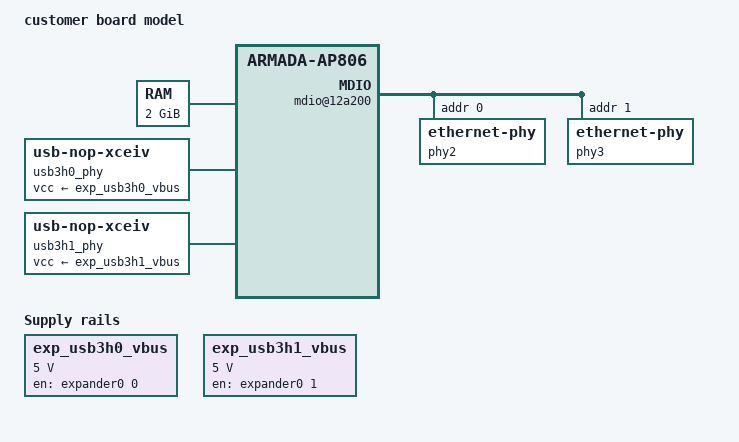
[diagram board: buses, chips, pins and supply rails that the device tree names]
/*
 * Copyright (C) 2016 Marvell Technology Group Ltd.
 *
 * This file is dual-licensed: you can use it either under the terms
 * of the GPLv2 or the X11 license, at your option. Note that this dual
 * licensing only applies to this file, and not this project as a
 * whole.
 *
 *  a) This library is free software; you can redistribute it and/or
 *     modify it under the terms of the GNU General Public License as
 *     published by the Free Software Foundation; either version 2 of the
 *     License, or (at your option) any later version.
 *
 *     This library is distributed in the hope that it will be useful,
 *     but WITHOUT ANY WARRANTY; without even the implied warranty of
 *     MERCHANTABILITY or FITNESS FOR A PARTICULAR PURPOSE.  See the
 *     GNU General Public License for more details.
 *
 * Or, alternatively,
 *
 *  b) Permission is hereby granted, free of charge, to any person
 *     obtaining a copy of this software and associated documentation
 *     files (the "Software"), to deal in the Software without
 *     restriction, including without limitation the rights to use,
 *     copy, modify, merge, publish, distribute, sublicense, and/or
 *     sell copies of the Software, and to permit persons to whom the
 *     Software is furnished to do so, subject to the following
 *     conditions:
 *
 *     The above copyright notice and this permission notice shall be
 *     included in all copies or substantial portions of the Software.
 *
 *     THE SOFTWARE IS PROVIDED "AS IS", WITHOUT WARRANTY OF ANY KIND,
 *     EXPRESS OR IMPLIED, INCLUDING BUT NOT LIMITED TO THE WARRANTIES
 *     OF MERCHANTABILITY, FITNESS FOR A PARTICULAR PURPOSE AND
 *     NONINFRINGEMENT. IN NO EVENT SHALL THE AUTHORS OR COPYRIGHT
 *     HOLDERS BE LIABLE FOR ANY CLAIM, DAMAGES OR OTHER LIABILITY,
 *     WHETHER IN AN ACTION OF CONTRACT, TORT OR OTHERWISE, ARISING
 *     FROM, OUT OF OR IN CONNECTION WITH THE SOFTWARE OR THE USE OR
 *     OTHER DEALINGS IN THE SOFTWARE.
 */

/*
 * Example device tree for Armada 7040
 * Customer may use this file as a reference.
 * Each field that needs to be update (phys, mpps, addresses, frequencies)
 * is marked with "UPDATE" comment.
 *
 * NOTE: all interfaces are disabled!
 *
 * Refer to ./Documentation/mvebu/porting_guide.txt for for information
 */

/* UPDATE
 * Include one of the following dtsi files:
 *	armada-7040.dtsi - used for quad core
 *	armada-7020.dtsi - used for dual core
 */
#include "armada-7040.dtsi"

/ {
	/* UPDATE */
	model = "customer board model";
	/* UPDATE
	 * marvell,armada-ap806-quad - used for quad core
	 * marvell,armada-ap806-dual - used for dual core
	 * NOTE: The compatile MUST match the included *.dtsi file
	 */
	compatible = "customer-board-compatible", "marvell,armada7040",
		     "marvell,armada-ap806-quad", "marvell,armada-ap806";
	#address-cells = <2>;
	#size-cells = <2>;

	aliases {
		gpio1 = &cpm_gpio0;
		gpio2 = &cpm_gpio1;
	};

	/* UPDATE */
	memory@00000000 {
		device_type = "memory";
		reg = <0x0 0x0 0x0 0x80000000>;
	};

	ap806 {
		config-space {
			sdhci@6e0000 {
				status = "disabled";
			};
			serial@512000 {
				status = "disabled";
			};
			i2c@511000 {
				status = "disabled";
				/* UPDATE */
				clock-frequency = <100000>;
			};
			sd_mmc_reg0: regulator@0 {
			/* UPDATE */
				gpios = <&gpio0 11 GPIO_ACTIVE_HIGH>;
				gpios-states = <0>;
				states = <1800000 0x1 3300000 0x0>;
				enable-active-high;
				status = "disabled";
			};
			sdhci@6e0000 {
				/* UPDATE */
				bus-width = <4>;
				no-1-8-v;
				non-removable;
			};
		};
	};

	cpn-110-master {
		config-space {
			pinctrl@440000 {
				u3d_vbus_pins: pca0_pins {
					marvell,pins = "mpp62";
					marvell,function = "gpio";
				};
			};
			serial@702000 {
				status = "disabled";
			};
			serial@702100 {
				status = "disabled";
			};
			serial@702200 {
				status = "disabled";
			};
			serial@702300 {
				status = "disabled";
			};
			sata: sata@540000 {
				status = "disabled";

				sata-port@0 {
					/* UPDATE */
					phys = <&comphy0 1 COMPHY_SATA0>;
					phy-names = "comphy";
					status = "disabled";
				};
				sata-port@1 {
					/* UPDATE */
					phys = <&comphy0 3 COMPHY_SATA1>;
					phy-names = "comphy";
					status = "disabled";
				};
			};
			usb3h0: usb3@500000 {
				status = "disabled";
			};
			usb3h1: usb3@510000 {
				status = "disabled";
			};
			u3d@520000 {
				/* UPDATE */
				pinctrl-0 = <&u3d_vbus_pins>;
				pinctrl-names = "default";
				vbus-gpio = <&cpm_gpio1 30 GPIO_ACTIVE_HIGH>;
				status = "disabled";
			};
			udc@524100 {
				status = "disabled";
			};
			sdhci@780000 {
				status = "disabled";
			};
			nand@720000 {
				/* UPDATE */
				nand-ecc-strength = <4>;
				nand-ecc-step-size = <512>;
				status = "disabled";
				partition@0 {
					label = "U-Boot";
					reg = <0 0x200000>;
				};
				partition@200000 {
					label = "Linux";
					reg = <0x200000 0xd00000>;
				};
				partition@1000000 {
					label = "Filesystem";
					reg = <0x1000000 0x3f000000>;
				};
			};
			spi@700680 {
				status = "disabled";
				/* UPDATE */
				spi-flash@0 {
					#address-cells = <0x1>;
					#size-cells = <0x1>;
					compatible = "jedec,spi-nor";
					reg = <0x0>;
					spi-max-frequency = <20000000>;
					partition@0 {
						label = "boot";
						reg = <0x0 0x200000>;
					};
					partition@200000 {
						label = "Filesystem";
						reg = <0x200000 0xd00000>;
					};
					partition@d00000 {
						label = "boot_2nd";
						reg = <0xf00000 0x100000>;
					};
				};
			};
			i2c1: i2c@701000 {
				status = "disabled";
				/* UPDATE */
				clock-frequency = <100000>;
				pinctrl-names = "default";
				pinctrl-0 = <&i2c0_pins>;
				eeprom@57 {
					/* UPDATE */
					compatible = "at24,24c64";
					reg = <0x57>;
					pagesize = <32>;
				};
				eeprom@50 {
					/* UPDATE */
					compatible = "at24,24c64";
					reg = <0x50>;
					pagesize = <32>;
				};
				expander0: pca9555@21 {
					/* UPDATE */
					compatible = "nxp,pca9555";
					pinctrl-names = "default";
					gpio-controller;
					#gpio-cells = <2>;
					reg = <0x21>;
				};
			};
			i2c2: i2c@701100 {
				status = "disabled";
			};

			mdio@12a200 {
				#address-cells = <1>;
				#size-cells = <0>;
				/* UPDATE */
				phy2: ethernet-phy@2 {
					reg = <0>;
				};
				phy3: ethernet-phy@3 {
					reg = <1>;
				};
			};
			gop {
				emac0: mac0 {
					/* UPDATE */
					phy-mode = "sgmii"; /* lane-2 */
					phys = <&comphy0 2 COMPHY_SGMII0>;
					phy-names = "comphy";
				};
				emac2: mac2 {
					/* UPDATE */
					phy-mode = "sgmii"; /* lane-0 */
					phy = <&phy2>;
					phys = <&comphy0 0 COMPHY_SGMII1>;
					phy-names = "comphy";
				};
				emac3: mac3 {
					/* UPDATE */
					phy-mode = "rgmii"; /* rgmii-1 */
					phy = <&phy3>;
				};
			};
			ppv22@000000 {
				eth0: eth0@010000 {
					status = "disabled";
				};
				eth1: eth1@020000 {
					status = "disabled";
				};
				eth2: eth2@030000 {
					status = "disabled";
				};
			};
			comphy {
				status = "disabled";
			};
		};
		pcie@0x600000 {
			status = "disabled";
			/* UPDATE */
			num-lanes = <4>;
		};
		pcie@0x620000 {
			status = "disabled";
		};
		pcie@0x640000 {
			status = "disabled";
		};
	};

	usb3h0_phy: usb3-h0-phy {
		/* UPDATE */
		compatible = "usb-nop-xceiv";
		/* vcc-supply can be changed by io-expander or GPIO,
		 * for A7040-DB we are using by default io-expander
		 * for other board GPIO may be needed, should update
		 * the phandle to gpio regulator
		 */
		vcc-supply = <&exp_usb3h0_vbus>;
	};
	usb3h1_phy: usb3-h1-phy {
		compatible = "usb-nop-xceiv";
		vcc-supply = <&exp_usb3h1_vbus>;
	};
	exp_usb3h0_vbus: usb3-0-vbus {
		compatible = "regulator-fixed";
		/* UPDATE */
		regulator-name = "usb3-0-vbus";
		regulator-min-microvolt = <5000000>;
		regulator-max-microvolt = <5000000>;
		enable-active-high;
		regulator-always-on;
		gpio = <&expander0 0 GPIO_ACTIVE_HIGH>;
	};
	exp_usb3h1_vbus: usb3-1-vbus {
		compatible = "regulator-fixed";
		/* UPDATE */
		regulator-name = "usb3-1-vbus";
		regulator-min-microvolt = <5000000>;
		regulator-max-microvolt = <5000000>;
		enable-active-high;
		regulator-always-on;
		gpio = <&expander0 1 GPIO_ACTIVE_HIGH>;
	};
	/* following GPIO entry is not used (for reference only)
	 * GPIO is not connected in default A7040-DB board
	 */
	gpio_usb3_vbus: usb3-gpio-vbus {
		compatible = "regulator-fixed";
		/* UPDATE */
		pinctrl-names = "default";
		pinctrl-0 = <&xhci0_vbus_pins>;
		regulator-name = "xhci0-vbus";
		regulator-min-microvolt = <5000000>;
		regulator-max-microvolt = <5000000>;
		enable-active-high;
		gpio = <&cpm_gpio0 12 GPIO_ACTIVE_HIGH>;
		status = "disabled";
	};
};
